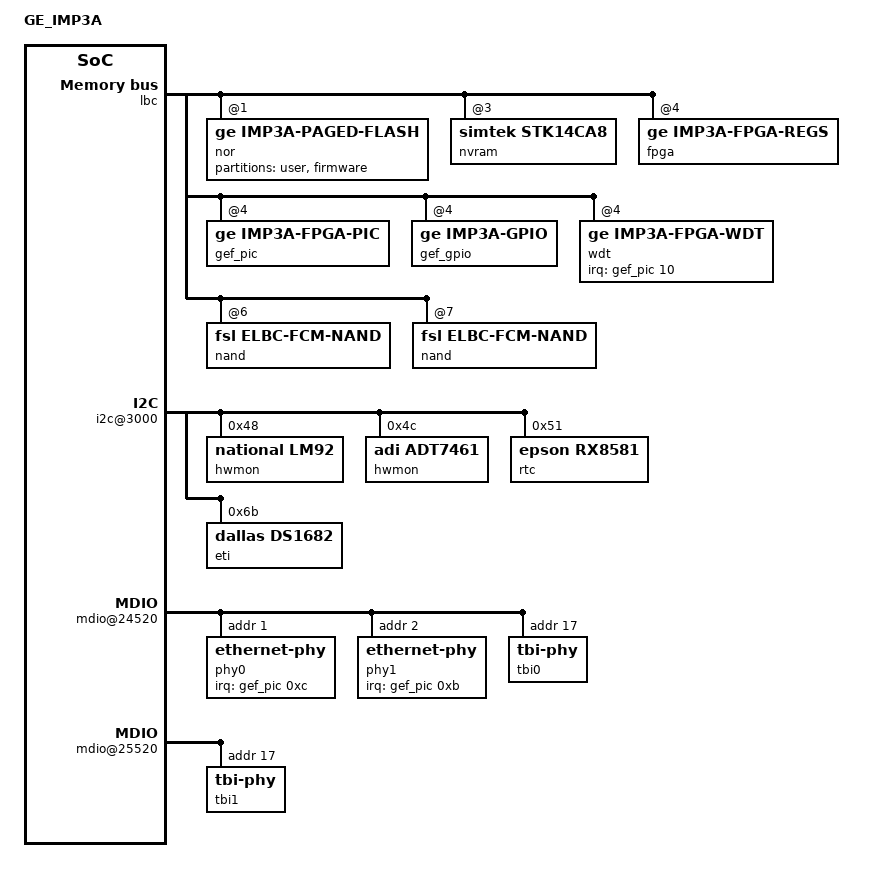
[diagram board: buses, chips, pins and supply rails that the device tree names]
// SPDX-License-Identifier: GPL-2.0-or-later
/*
 * GE IMP3A Device Tree Source
 *
 * Copyright 2010-2011 GE Intelligent Platforms Embedded Systems, Inc.
 *
 * Based on: P2020 DS Device Tree Source
 * Copyright 2009 Freescale Semiconductor Inc.
 */

/include/ "p2020si-pre.dtsi"

/ {
	model = "GE_IMP3A";
	compatible = "ge,imp3a";

	memory {
		device_type = "memory";
	};

	lbc: localbus@fef05000 {
		reg = <0 0xfef05000 0 0x1000>;

		ranges = <0x0 0x0 0x0 0xff000000 0x01000000
			  0x1 0x0 0x0 0xe0000000 0x08000000
			  0x2 0x0 0x0 0xe8000000 0x08000000
			  0x3 0x0 0x0 0xfc100000 0x00020000
			  0x4 0x0 0x0 0xfc000000 0x00008000
			  0x5 0x0 0x0 0xfc008000 0x00008000
			  0x6 0x0 0x0 0xfee00000 0x00040000
			  0x7 0x0 0x0 0xfee80000 0x00040000>;

		/* nor@0,0 is a mirror of part of the memory in nor@1,0
		nor@0,0 {
			#address-cells = <1>;
			#size-cells = <1>;
			compatible = "ge,imp3a-firmware-mirror", "cfi-flash";
			reg = <0x0 0x0 0x1000000>;
			bank-width = <2>;
			device-width = <1>;

			partition@0 {
				label = "firmware";
				reg = <0x0 0x1000000>;
				read-only;
			};
		};
		*/

		nor@1,0 {
			#address-cells = <1>;
			#size-cells = <1>;
			compatible = "ge,imp3a-paged-flash", "cfi-flash";
			reg = <0x1 0x0 0x8000000>;
			bank-width = <2>;
			device-width = <1>;

			partition@0 {
				label = "user";
				reg = <0x0 0x7800000>;
			};

			partition@7800000 {
				label = "firmware";
				reg = <0x7800000 0x800000>;
				read-only;
			};
		};

		nvram@3,0 {
			device_type = "nvram";
			compatible = "simtek,stk14ca8";
			reg = <0x3 0x0 0x20000>;
		};

		fpga@4,0 {
			compatible = "ge,imp3a-fpga-regs";
			reg = <0x4 0x0 0x20>;
		};

		gef_pic: pic@4,20 {
			#interrupt-cells = <1>;
			interrupt-controller;
			device_type = "interrupt-controller";
			compatible = "ge,imp3a-fpga-pic", "gef,fpga-pic-1.00";
			reg = <0x4 0x20 0x20>;
			interrupts = <6 7 0 0>;
		};

		gef_gpio: gpio@4,400 {
			#gpio-cells = <2>;
			compatible = "ge,imp3a-gpio";
			reg = <0x4 0x400 0x24>;
			gpio-controller;
		};

		wdt@4,800 {
			compatible = "ge,imp3a-fpga-wdt", "gef,fpga-wdt-1.00",
				"gef,fpga-wdt";
			reg = <0x4 0x800 0x8>;
			interrupts = <10 4>;
			interrupt-parent = <&gef_pic>;
		};

		/* Second watchdog available, driver currently supports one.
		wdt@4,808 {
			compatible = "gef,imp3a-fpga-wdt", "gef,fpga-wdt-1.00",
				"gef,fpga-wdt";
			reg = <0x4 0x808 0x8>;
			interrupts = <9 4>;
			interrupt-parent = <&gef_pic>;
		};
		*/

		nand@6,0 {
			compatible = "fsl,elbc-fcm-nand";
			reg = <0x6 0x0 0x40000>;
		};

		nand@7,0 {
			compatible = "fsl,elbc-fcm-nand";
			reg = <0x7 0x0 0x40000>;
		};
	};

	soc: soc@fef00000 {
		ranges = <0x0 0 0xfef00000 0x100000>;

		i2c@3000 {
			hwmon@48 {
				compatible = "national,lm92";
				reg = <0x48>;
			};

			hwmon@4c {
				compatible = "adi,adt7461";
				reg = <0x4c>;
			};

			rtc@51 {
				compatible = "epson,rx8581";
				reg = <0x51>;
			};

			eti@6b {
				compatible = "dallas,ds1682";
				reg = <0x6b>;
			};
		};

		usb@22000 {
			phy_type = "ulpi";
			dr_mode = "host";
		};

		mdio@24520 {
			phy0: ethernet-phy@0 {
				interrupt-parent = <&gef_pic>;
				interrupts = <0xc 0x4>;
				reg = <0x1>;
			};
			phy1: ethernet-phy@1 {
				interrupt-parent = <&gef_pic>;
				interrupts = <0xb 0x4>;
				reg = <0x2>;
			};
			tbi0: tbi-phy@11 {
				reg = <0x11>;
				device_type = "tbi-phy";
			};
		};

		mdio@25520 {
			tbi1: tbi-phy@11 {
				reg = <0x11>;
				device_type = "tbi-phy";
			};
		};

		mdio@26520 {
			status = "disabled";
		};

		enet0: ethernet@24000 {
			tbi-handle = <&tbi0>;
			phy-handle = <&phy0>;
			phy-connection-type = "gmii";
		};

		enet1: ethernet@25000 {
			tbi-handle = <&tbi1>;
			phy-handle = <&phy1>;
			phy-connection-type = "gmii";
		};

		enet2: ethernet@26000 {
			status = "disabled";
		};
	};

	pci0: pcie@fef08000 {
		ranges = <0x2000000 0x0 0xc0000000 0 0xc0000000 0x0 0x20000000
			  0x1000000 0x0 0x00000000 0 0xfe020000 0x0 0x10000>;
		reg = <0 0xfef08000 0 0x1000>;

		pcie@0 {
			ranges = <0x2000000 0x0 0xc0000000
				  0x2000000 0x0 0xc0000000
				  0x0 0x20000000

				  0x1000000 0x0 0x0
				  0x1000000 0x0 0x0
				  0x0 0x10000>;
		};
	};

	pci1: pcie@fef09000 {
		reg = <0 0xfef09000 0 0x1000>;
		ranges = <0x2000000 0x0 0xa0000000 0 0xa0000000 0x0 0x20000000
			  0x1000000 0x0 0x00000000 0 0xfe010000 0x0 0x10000>;

		pcie@0 {
			ranges = <0x2000000 0x0 0xa0000000
				  0x2000000 0x0 0xa0000000
				  0x0 0x20000000

				  0x1000000 0x0 0x0
				  0x1000000 0x0 0x0
				  0x0 0x10000>;
		};

	};

	pci2: pcie@fef0a000 {
		reg = <0 0xfef0a000 0 0x1000>;
		ranges = <0x2000000 0x0 0x80000000 0 0x80000000 0x0 0x20000000
			  0x1000000 0x0 0x00000000 0 0xfe000000 0x0 0x10000>;

		pcie@0 {
			ranges = <0x2000000 0x0 0x80000000
				  0x2000000 0x0 0x80000000
				  0x0 0x20000000

				  0x1000000 0x0 0x0
				  0x1000000 0x0 0x0
				  0x0 0x10000>;
		};
	};
};

/include/ "p2020si-post.dtsi"
